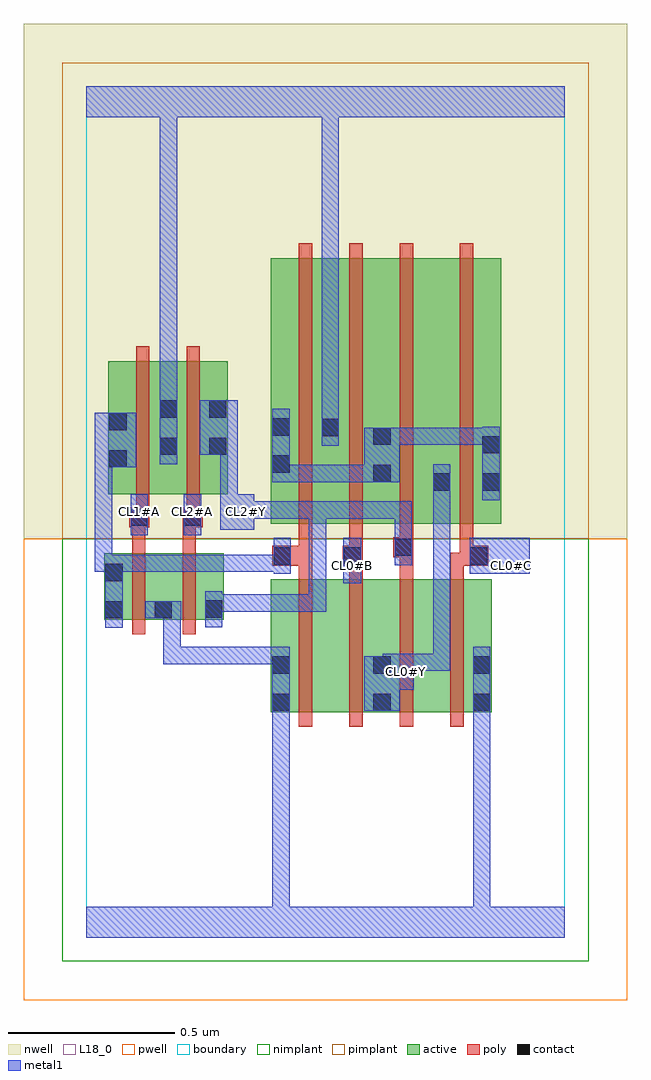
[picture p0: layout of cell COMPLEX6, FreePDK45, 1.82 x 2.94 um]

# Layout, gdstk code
import gdstk
lib = gdstk.Library(unit=1e-6, precision=1e-09)
def R(c, l, rs):  # rectangles x0, y0, x1, y1
    for r in rs: c.add(gdstk.rectangle(r[:2], r[2:], *l))
def A(c, l, x, y, w, h, nx, ny, dx, dy):  # array of equal rectangles
    R(c, l, [(x+i*dx, y+j*dy, x+i*dx+w, y+j*dy+h) for i in range(nx) for j in range(ny)])
active = (1, 0)
pwell = (2, 0)
nwell = (3, 0)
nimplant = (4, 0)
pimplant = (5, 0)
poly = (9, 0)
contact = (10, 0)
metal1 = (11, 0)
L18_0 = (18, 0)
boundary = (235, 0)

complex6 = lib.new_cell('COMPLEX6')
R(complex6, active, [(0.556,0.678,0.616,1.078), (0.556,0.678,0.736,1.078), (0.736,0.678,0.92,1.078), (0.86,0.678,1.04,1.078), (0.86,0.678,0.92,0.988), (1.04,0.678,1.22,1.078), (1.16,0.678,1.22,1.078), (0.054,0.956,0.114,1.156), (0.054,0.956,0.262,1.156), (0.202,0.956,0.414,1.156), (0.202,0.956,0.262,1.04), (0.354,0.956,0.414,1.156), (0.556,1.244,0.616,2.044), (0.556,1.244,0.764,2.044), (0.704,1.244,0.764,2.044), (0.704,1.244,0.92,2.044), (0.86,1.244,0.92,2.044), (0.86,1.244,1.1,2.044), (1.04,1.244,1.1,2.044), (1.04,1.244,1.248,2.044), (1.188,1.244,1.248,2.044), (0.066,1.334,0.126,1.644), (0.066,1.334,0.278,1.734), (0.218,1.334,0.426,1.734), (0.366,1.334,0.426,1.644), (0.218,1.448,0.278,1.644)])
R(complex6, pwell, [(-0.188,-0.188,1.628,1.2)])
R(complex6, nwell, [(-0.188,1.2,1.628,2.748)])
R(complex6, nimplant, [(-0.072,-0.072,1.512,1.2)])
R(complex6, pimplant, [(-0.072,1.2,1.512,2.632)])
A(complex6, poly, 0.64, 0.634, 0.04, 0.488, 4, 1, 0.152, 0)
A(complex6, poly, 0.64, 1.2, 0.04, 0.888, 3, 1, 0.152, 0)
R(complex6, poly, [(0.138,0.912,0.178,1.2), (0.29,0.912,0.33,1.2), (0.64,1.082,0.68,1.158), (0.792,1.082,0.832,1.158), (0.944,1.082,0.984,1.184), (1.096,1.082,1.136,1.158), (0.56,1.118,0.68,1.178), (0.772,1.118,0.832,1.178), (1.096,1.118,1.164,1.158), (1.124,1.118,1.164,1.158), (1.124,1.118,1.21,1.178), (0.64,1.138,0.68,1.24), (0.64,1.138,0.68,1.178), (0.64,1.138,0.68,1.178), (0.792,1.138,0.832,1.24), (0.792,1.138,0.832,1.178), (0.792,1.138,0.832,1.178), (1.124,1.138,1.164,1.24), (0.924,1.144,0.984,1.204), (0.944,1.144,0.984,1.184), (0.944,1.144,0.984,1.184), (0.138,1.16,0.178,1.274), (0.29,1.16,0.33,1.274), (0.944,1.164,0.984,1.24), (1.124,1.2,1.164,2.088), (0.13,1.234,0.19,1.294), (0.138,1.234,0.178,1.274), (0.138,1.234,0.178,1.274), (0.29,1.234,0.33,1.274), (0.29,1.234,0.33,1.274), (0.29,1.234,0.35,1.294), (0.15,1.254,0.19,1.33), (0.302,1.254,0.342,1.33), (0.15,1.29,0.19,1.778), (0.302,1.29,0.342,1.778)])
R(complex6, contact, [(0.56,0.682,0.612,0.734), (0.864,0.682,0.916,0.734), (1.164,0.682,1.216,0.734), (0.56,0.794,0.612,0.846), (0.864,0.794,0.916,0.846), (1.164,0.794,1.216,0.846), (0.058,0.96,0.11,1.012), (0.206,0.96,0.258,1.012), (0.358,0.962,0.41,1.014), (0.058,1.072,0.11,1.124), (0.564,1.122,0.616,1.174), (0.776,1.122,0.828,1.174), (1.154,1.122,1.206,1.174), (0.928,1.148,0.98,1.2), (0.134,1.238,0.186,1.29), (0.294,1.238,0.346,1.29), (1.044,1.344,1.096,1.396), (1.192,1.344,1.244,1.396), (0.864,1.37,0.916,1.422), (0.56,1.398,0.612,1.45), (0.07,1.414,0.122,1.466), (0.222,1.452,0.274,1.504), (0.37,1.452,0.422,1.504), (1.192,1.456,1.244,1.508), (0.864,1.482,0.916,1.534), (0.708,1.508,0.76,1.56), (0.56,1.51,0.612,1.562), (0.07,1.526,0.122,1.578), (0.222,1.564,0.274,1.616), (0.37,1.564,0.422,1.616)])
A(complex6, metal1, 0.454, 1.26, 0.052, 0.052, 3, 1, 0.11, 0)
R(complex6, metal1, [(0,0,1.44,0.092), (0.56,0.04,0.612,0.092), (0.56,0.04,0.612,0.092), (0.56,0.04,0.612,0.706), (1.164,0.04,1.216,0.092), (1.164,0.04,1.216,0.092), (1.164,0.04,1.216,0.092), (1.164,0.04,1.216,0.092), (1.164,0.04,1.216,0.092), (1.164,0.04,1.216,0.092), (1.164,0.04,1.216,0.092), (1.164,0.04,1.216,0.092), (1.164,0.04,1.216,0.706), (0.56,0.654,0.612,0.874), (0.56,0.654,0.612,0.706), (0.56,0.654,0.612,0.706), (0.56,0.654,0.612,0.706), (0.56,0.654,0.612,0.706), (0.56,0.654,0.612,0.706), (0.56,0.654,0.612,0.706), (0.56,0.654,0.612,0.706), (0.56,0.654,0.612,0.706), (0.56,0.654,0.612,0.706), (0.56,0.654,0.612,0.706), (1.164,0.654,1.216,0.874), (1.164,0.654,1.216,0.706), (1.164,0.654,1.216,0.706), (1.164,0.654,1.216,0.706), (1.164,0.654,1.216,0.706), (0.836,0.682,0.944,0.846), (0.892,0.746,0.986,0.854), (0.892,0.794,0.944,0.846), (0.934,0.802,0.986,0.854), (0.934,0.802,0.986,0.854), (0.934,0.802,1.096,0.854), (1.044,0.802,1.096,0.854), (1.044,0.802,1.096,0.854), (1.044,0.802,1.096,0.854), (1.044,0.802,1.096,1.368), (0.232,0.822,0.284,0.874), (0.232,0.822,0.284,0.874), (0.232,0.822,0.284,0.874), (0.232,0.822,0.394,0.874), (0.232,0.822,0.284,1.012), (0.342,0.822,0.394,0.874), (0.342,0.822,0.394,0.874), (0.342,0.822,0.394,0.874), (0.342,0.822,0.612,0.874), (0.058,0.932,0.11,1.152), (0.358,0.934,0.41,1.042), (0.178,0.96,0.286,1.012), (0.358,0.98,0.506,1.032), (0.454,0.98,0.506,1.032), (0.454,0.98,0.616,1.032), (0.564,0.98,0.616,1.032), (0.564,0.98,0.722,1.032), (0.67,0.98,0.722,1.032), (0.67,0.98,0.722,1.032), (0.67,0.98,0.722,1.032), (0.67,0.98,0.722,1.312), (0.774,1.066,0.828,1.202), (0.564,1.094,0.616,1.202), (1.154,1.094,1.334,1.202), (0.026,1.1,0.078,1.352), (0.026,1.1,0.11,1.152), (0.058,1.1,0.11,1.152), (0.058,1.1,0.11,1.152), (0.058,1.1,0.11,1.152), (0.058,1.1,0.284,1.152), (0.232,1.1,0.284,1.152), (0.232,1.1,0.396,1.152), (0.344,1.1,0.396,1.152), (0.344,1.1,0.396,1.152), (0.344,1.1,0.396,1.152), (0.344,1.1,0.57,1.152), (0.518,1.1,0.57,1.152), (0.518,1.1,0.616,1.152), (0.928,1.12,0.98,1.228), (0.928,1.176,0.98,1.228), (0.928,1.176,0.98,1.312), (0.134,1.21,0.186,1.334), (0.294,1.21,0.346,1.334), (0.404,1.226,0.506,1.334), (0.454,1.26,0.506,1.312), (0.454,1.26,0.616,1.312), (0.564,1.26,0.722,1.312), (0.67,1.26,0.726,1.312), (0.674,1.26,0.726,1.312), (0.674,1.26,0.98,1.312), (0.404,1.282,0.456,1.504), (0.026,1.3,0.078,1.352), (0.026,1.3,0.078,1.466), (1.044,1.316,1.096,1.424), (1.192,1.316,1.244,1.536), (0.56,1.37,0.612,1.59), (0.56,1.37,0.616,1.422), (0.564,1.37,0.616,1.422), (0.564,1.37,0.778,1.422), (0.726,1.37,0.778,1.422), (0.726,1.37,0.778,1.422), (0.726,1.37,0.778,1.422), (0.726,1.37,0.888,1.422), (0.836,1.37,0.944,1.534), (0.026,1.414,0.15,1.578), (0.222,1.424,0.274,1.644), (0.342,1.452,0.456,1.616), (0.708,1.48,0.76,1.588), (0.892,1.482,0.944,1.534), (0.892,1.482,0.944,1.534), (0.892,1.482,0.944,1.534), (0.892,1.482,0.944,1.534), (0.892,1.482,1.096,1.534), (1.044,1.482,1.244,1.534), (1.044,1.482,1.096,1.534), (1.044,1.482,1.096,1.534), (1.044,1.482,1.096,1.534), (0.708,1.536,0.76,2.52), (0.222,1.592,0.274,1.644), (0.222,1.592,0.274,1.644), (0.222,1.592,0.274,2.52), (0,2.468,1.44,2.56), (0.222,2.468,0.274,2.52), (0.222,2.468,0.274,2.52), (0.222,2.468,0.274,2.52), (0.222,2.468,0.274,2.52), (0.222,2.468,0.274,2.52), (0.222,2.468,0.274,2.52), (0.222,2.468,0.274,2.52), (0.222,2.468,0.274,2.52), (0.222,2.468,0.274,2.52), (0.222,2.468,0.274,2.52), (0.222,2.468,0.274,2.52), (0.222,2.468,0.274,2.52), (0.222,2.468,0.274,2.52), (0.222,2.468,0.274,2.52), (0.708,2.468,0.76,2.52), (0.708,2.468,0.76,2.52), (0.708,2.468,0.76,2.52), (0.708,2.468,0.76,2.52), (0.708,2.468,0.76,2.52), (0.708,2.468,0.76,2.52), (0.708,2.468,0.76,2.52), (0.708,2.468,0.76,2.52)])
A(complex6, L18_0, 0.134, 1.254, 0.052, 0.052, 3, 1, 0.16, 0)
A(complex6, L18_0, 0.454, 1.26, 0.052, 0.052, 3, 1, 0.11, 0)
R(complex6, L18_0, [(0,0,1.44,0.092), (0.56,0.04,0.612,0.092), (0.56,0.04,0.612,0.092), (0.56,0.04,0.612,0.706), (1.164,0.04,1.216,0.092), (1.164,0.04,1.216,0.092), (1.164,0.04,1.216,0.092), (1.164,0.04,1.216,0.092), (1.164,0.04,1.216,0.092), (1.164,0.04,1.216,0.092), (1.164,0.04,1.216,0.092), (1.164,0.04,1.216,0.092), (1.164,0.04,1.216,0.706), (0.56,0.654,0.612,0.706), (0.56,0.654,0.612,0.706), (0.56,0.654,0.612,0.706), (0.56,0.654,0.612,0.706), (0.56,0.654,0.612,0.706), (0.56,0.654,0.612,0.706), (0.56,0.654,0.612,0.706), (0.56,0.654,0.612,0.706), (0.56,0.654,0.612,0.706), (0.56,0.654,0.612,0.706), (0.56,0.654,0.612,0.874), (1.164,0.654,1.216,0.706), (1.164,0.654,1.216,0.706), (1.164,0.654,1.216,0.706), (1.164,0.654,1.216,0.706), (1.164,0.654,1.216,0.874), (0.836,0.682,0.944,0.846), (0.892,0.746,0.986,0.854), (0.934,0.774,0.986,0.826), (0.892,0.794,0.944,0.846), (0.934,0.802,0.986,0.854), (0.934,0.802,0.986,0.854), (0.934,0.802,1.096,0.854), (1.044,0.802,1.096,0.854), (1.044,0.802,1.096,0.854), (1.044,0.802,1.096,0.854), (1.044,0.802,1.096,1.368), (0.232,0.822,0.284,0.874), (0.232,0.822,0.284,0.874), (0.232,0.822,0.284,0.874), (0.232,0.822,0.284,1.012), (0.232,0.822,0.394,0.874), (0.342,0.822,0.394,0.874), (0.342,0.822,0.394,0.874), (0.342,0.822,0.394,0.874), (0.342,0.822,0.612,0.874), (0.358,0.934,0.41,1.042), (0.178,0.96,0.286,1.012), (0.358,0.98,0.506,1.032), (0.454,0.98,0.506,1.032), (0.454,0.98,0.616,1.032), (0.564,0.98,0.616,1.032), (0.564,0.98,0.722,1.032), (0.67,0.98,0.722,1.032), (0.67,0.98,0.722,1.032), (0.67,0.98,0.722,1.032), (0.67,0.98,0.722,1.312), (0.774,1.066,0.828,1.202), (0.774,1.094,0.826,1.146), (1.154,1.094,1.334,1.202), (1.254,1.094,1.306,1.146), (0.928,1.12,0.98,1.228), (0.928,1.176,0.98,1.228), (0.928,1.176,0.98,1.312), (0.134,1.21,0.186,1.334), (0.294,1.21,0.346,1.334), (0.404,1.226,0.506,1.334), (0.454,1.26,0.506,1.312), (0.454,1.26,0.616,1.312), (0.564,1.26,0.722,1.312), (0.67,1.26,0.726,1.312), (0.674,1.26,0.726,1.312), (0.674,1.26,0.98,1.312), (0.404,1.282,0.456,1.504), (1.044,1.316,1.096,1.424), (0.222,1.424,0.274,1.644), (0.342,1.452,0.456,1.616), (0.708,1.48,0.76,1.588), (0.708,1.536,0.76,2.52), (0.222,1.592,0.274,1.644), (0.222,1.592,0.274,1.644), (0.222,1.592,0.274,2.52), (0,2.468,1.44,2.56), (0.222,2.468,0.274,2.52), (0.222,2.468,0.274,2.52), (0.222,2.468,0.274,2.52), (0.222,2.468,0.274,2.52), (0.222,2.468,0.274,2.52), (0.222,2.468,0.274,2.52), (0.222,2.468,0.274,2.52), (0.222,2.468,0.274,2.52), (0.222,2.468,0.274,2.52), (0.222,2.468,0.274,2.52), (0.222,2.468,0.274,2.52), (0.222,2.468,0.274,2.52), (0.222,2.468,0.274,2.52), (0.222,2.468,0.274,2.52), (0.708,2.468,0.76,2.52), (0.708,2.468,0.76,2.52), (0.708,2.468,0.76,2.52), (0.708,2.468,0.76,2.52), (0.708,2.468,0.76,2.52), (0.708,2.468,0.76,2.52), (0.708,2.468,0.76,2.52), (0.708,2.468,0.76,2.52)])
R(complex6, boundary, [(0,0,1.44,2.56)])
complex6.add(gdstk.Label('CL0#B', (0.8,1.12), layer=11, texttype=0))
complex6.add(gdstk.Label('CL0#C', (1.28,1.12), layer=11, texttype=0))
complex6.add(gdstk.Label('CL0#Y', (0.96,0.8), layer=11, texttype=0))
complex6.add(gdstk.Label('CL1#A', (0.16,1.28), layer=11, texttype=0))
complex6.add(gdstk.Label('CL2#A', (0.32,1.28), layer=11, texttype=0))
complex6.add(gdstk.Label('CL2#Y', (0.48,1.28), layer=11, texttype=0))

lib.write_gds('COMPLEX6.gds')
